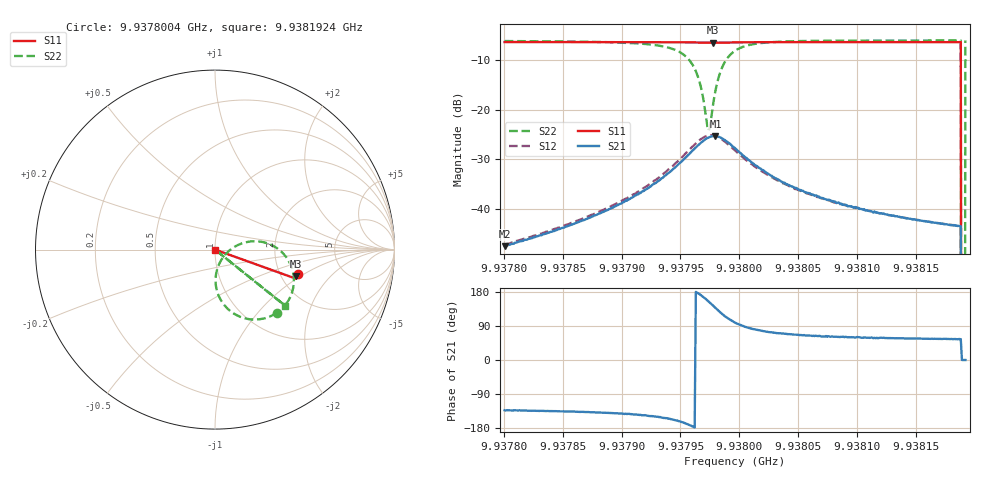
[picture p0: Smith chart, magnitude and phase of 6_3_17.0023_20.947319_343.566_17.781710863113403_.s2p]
#  HZ  S  RI  R  50.00
! Rohde & Schwarz Vector Network Analyzer
! Rohde-Schwarz,ZNB20-2Port,1311601062101988,3.16
! Created: UTC 3/20/2024, 10:52:18 PM
! freq[Hz]  re:S11  im:S11  re:S21  im:S21  re:S12  im:S12  re:S22  im:S22
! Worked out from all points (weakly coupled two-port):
!   401 points, 9.9378004 GHz to 9.9381924 GHz, reference 50 ohm
!   highest |S21| = -25.32 dB at 9.9379798 GHz (marker M1); lowest = -47.5 dB at 9.9378004 GHz (marker M2)
!   lowest |S11| = -6.5 dB at 9.9379778 GHz (marker M3), VSWR 2.80, Z = 120 - j45.4 ohm
!   |S11| at or under -10 dB: 9.9381885 GHz to end of sweep
!   |S22| runs from - to -6.0 dB; largest |S21 - S12| = 0.009
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9.93780041e9  0.4608 -0.1385  -0.00285 -0.0031  -0.00304 -0.00316  0.3446 -0.3515
9.93786607e9  0.4589 -0.143  -0.00553 -0.00521  -0.00588 -0.00531  0.3164 -0.3681
9.93790331e9  0.4576 -0.1458  -0.00957 -0.00752  -0.0102 -0.00757  0.2784 -0.3823
9.93793174e9  0.4561 -0.148  -0.0168 -0.00945  -0.0184 -0.0096  0.2098 -0.3895
9.93794938e9  0.4543 -0.1493  -0.0276 -0.00902  -0.0306 -0.00795  0.1165 -0.363
9.93796016e9  0.4525 -0.1496  -0.0385 -0.00315  -0.0425 0.00049  0.0341 -0.2839
9.93796604e9  0.4516 -0.1493  -0.0446 0.00484  -0.0478 0.0111  0.00407 -0.1944
9.93797192e9  0.4506 -0.1481  -0.0479 0.0176  -0.0475 0.0261  0.0241 -0.078
9.93797388e9  0.4506 -0.1478  -0.0473 0.0225  -0.0454 0.0312  0.0463 -0.041
9.93797584e9  0.4506 -0.1472  -0.0459 0.0277  -0.0422 0.0359  0.0764 -0.00829
9.9379778e9  0.4507 -0.1467  -0.0434 0.0323  -0.0384 0.0398  0.1121 0.0174
9.93797976e9  0.451 -0.1463  -0.0399 0.0367  -0.0338 0.0428  0.1511 0.035
9.9379827e9  0.4515 -0.1457  -0.0336 0.0414  -0.0265 0.0454  0.2109 0.0464
9.93798662e9  0.4525 -0.1453  -0.0241 0.0443  -0.0172 0.0457  0.2825 0.0378
9.93799642e9  0.4546 -0.1461  -0.00633 0.0405  -0.00231 0.0388  0.3911 -0.0347
9.93802876e9  0.4557 -0.1503  0.00634 0.02  0.00702 0.0193  0.438 -0.1992
9.93806208e9  0.455 -0.1533  0.00628 0.0125  0.00637 0.0122  0.4231 -0.2554
9.93812775e9  0.4532 -0.1582  0.0046 0.00733  0.00478 0.00719  0.4017 -0.295
9.93818655e9  0.4516 -0.1621  0.00385 0.00554  0.00396 0.00547  0.3904 -0.3108
9.93818949e9  0 0  0 0  0 0  0 0
9.93819145e9  0 0  0 0  0 0  0 0
9.93819243e9  0 0  0 0  0 0  0.3894 -0.3121
